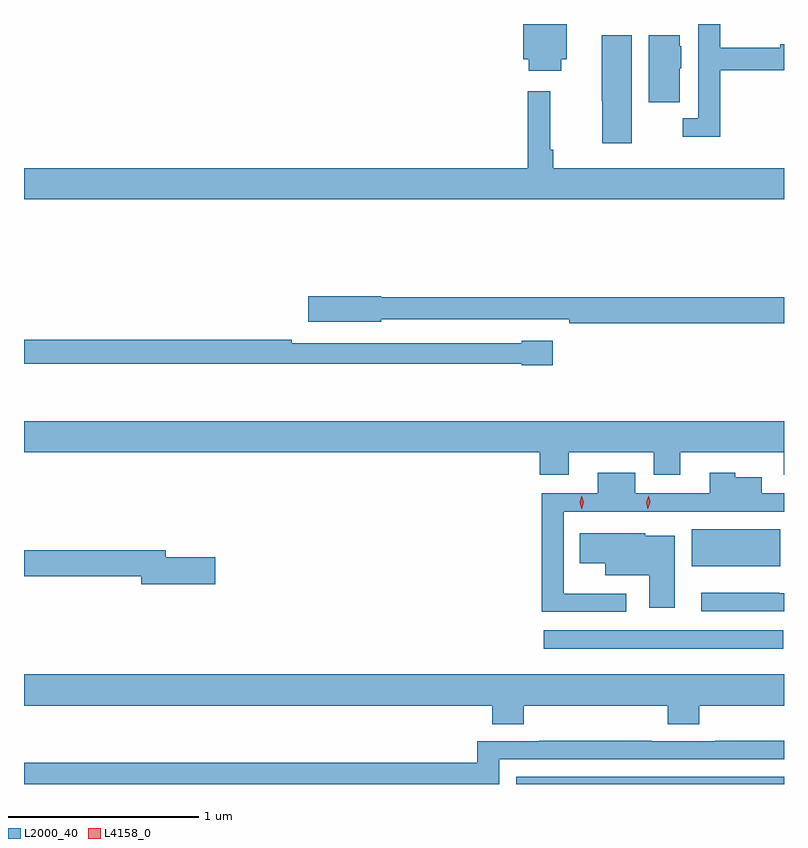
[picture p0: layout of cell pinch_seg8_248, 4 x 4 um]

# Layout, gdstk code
import gdstk
lib = gdstk.Library(unit=1e-6, precision=1e-09)
def R(c, l, rs):  # rectangles x0, y0, x1, y1
    for r in rs: c.add(gdstk.rectangle(r[:2], r[2:], *l))
def P(c, l, *ps):  # polygons
    for p in ps: c.add(gdstk.Polygon(p, *l))
L2000_40 = (2000, 40)
L4158_0 = (4158, 0)

pinch_seg8_248 = lib.new_cell('pinch_seg8_248')
R(pinch_seg8_248, L2000_40, [(833.096,1118.751,834.505,1118.79), (833.241,1119.464,834.502,1119.561), (834.02,1119.896,834.484,1120.093)])
P(pinch_seg8_248, L2000_40, [(834.17,1122.508),(834.505,1122.508),(834.505,1122.644),(834.484,1122.644),(834.484,1122.625),(834.17,1122.625),(834.17,1122.751),(834.054,1122.751),(834.054,1122.255),(833.973,1122.255),(833.973,1122.158),(834.17,1122.158)],
  [(833.332,1122.566),(833.362,1122.566),(833.362,1122.751),(833.132,1122.751),(833.132,1122.566),(833.162,1122.566),(833.162,1122.506),(833.332,1122.506)],
  [(833.956,1122.519),(833.965,1122.519),(833.965,1122.633),(833.956,1122.633),(833.956,1122.692),(833.792,1122.692),(833.792,1122.339),(833.956,1122.339)],
  [(833.704,1122.692),(833.546,1122.692),(833.546,1122.348),(833.549,1122.348),(833.549,1122.123),(833.704,1122.123)],
  [(834.505,1121.992),(833.291,1121.992),(833.291,1122.088),(833.276,1122.088),(833.276,1122.397),(833.155,1122.397),(833.155,1121.992),(830.505,1121.992),(830.505,1121.828),(834.505,1121.828)],
  [(834.505,1121.312),(832.386,1121.312),(832.386,1121.318),(832.002,1121.318),(832.002,1121.183),(832.386,1121.183),(832.386,1121.196),(833.374,1121.196),(833.374,1121.176),(834.505,1121.176)],
  [(833.287,1121.083),(833.124,1121.083),(833.124,1121.07),(831.914,1121.07),(831.914,1121.09),(830.505,1121.09),(830.505,1120.962),(833.124,1120.962),(833.124,1120.954),(833.287,1120.954)],
  [(833.371,1120.496),(833.819,1120.496),(833.819,1120.379),(833.959,1120.379),(833.959,1120.496),(834.503,1120.496),(834.503,1120.379),(834.505,1120.379),(834.505,1120.66),(830.505,1120.66),(830.505,1120.496),(833.219,1120.496),(833.219,1120.379),(833.371,1120.379)],
  [(833.674,1119.753),(833.348,1119.753),(833.348,1119.754),(833.346,1119.754),(833.346,1120.185),(834.505,1120.185),(834.505,1120.281),(834.388,1120.281),(834.388,1120.366),(834.249,1120.366),(834.249,1120.39),(834.113,1120.39),(834.113,1120.281),(833.722,1120.281),(833.722,1120.39),(833.525,1120.39),(833.525,1120.281),(833.23,1120.281),(833.23,1119.657),(833.674,1119.657)],
  [(833.929,1120.057),(833.775,1120.057),(833.775,1120.072),(833.431,1120.072),(833.431,1119.914),(833.564,1119.914),(833.564,1119.851),(833.795,1119.851),(833.795,1119.678),(833.929,1119.678)],
  [(831.511,1119.944),(831.25,1119.944),(831.25,1119.98),(830.505,1119.98),(830.505,1119.844),(831.122,1119.844),(831.122,1119.802),(831.511,1119.802)],
  [(834.505,1119.756),(834.48,1119.756),(834.48,1119.757),(834.069,1119.757),(834.069,1119.66),(834.505,1119.66)],
  [(833.135,1119.164),(833.894,1119.164),(833.894,1119.065),(834.059,1119.065),(834.059,1119.164),(834.505,1119.164),(834.505,1119.328),(830.505,1119.328),(830.505,1119.164),(832.97,1119.164),(832.97,1119.065),(833.135,1119.065)],
  [(833.007,1118.88),(834.505,1118.88),(834.505,1118.978),(834.142,1118.978),(834.142,1118.976),(833.81,1118.976),(833.81,1118.978),(833.218,1118.978),(833.218,1118.976),(832.891,1118.976),(832.891,1118.863),(830.505,1118.863),(830.505,1118.751),(833.007,1118.751)])
P(pinch_seg8_248, L4158_0, [(833.789,1120.197),(833.789,1120.198),(833.78,1120.233),(833.792,1120.268),(833.792,1120.268),(833.792,1120.268),(833.8,1120.233),(833.789,1120.198)],
  [(833.44,1120.197),(833.44,1120.198),(833.43,1120.233),(833.44,1120.268),(833.441,1120.269),(833.441,1120.268),(833.45,1120.233),(833.44,1120.198)])

lib.write_gds('pinch_seg8_248.gds')
